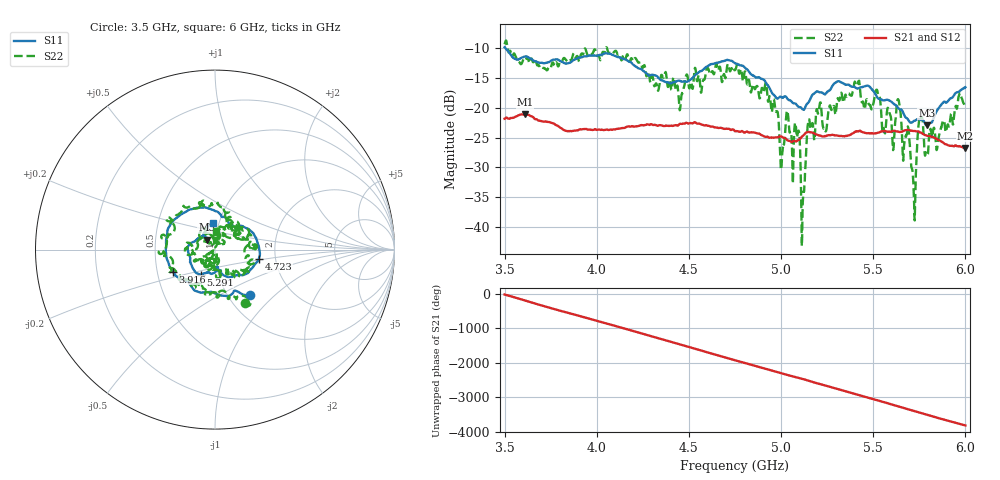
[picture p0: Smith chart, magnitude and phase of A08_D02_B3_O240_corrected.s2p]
! Created with skrf 1.9.0 (http://scikit-rf.org).
# Hz S RI R 50.0
!freq ReS11 ImS11 ReS21 ImS21 ReS12 ImS12 ReS22 ImS22
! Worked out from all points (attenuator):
!   1601 points, 3.5 GHz to 6 GHz, reference 50 ohm
!   highest |S21| = -21.09 dB at 3.611 GHz (marker M1); lowest = -26.7 dB at 5.998 GHz (marker M2)
!   lowest |S11| = -22.9 dB at 5.791 GHz (marker M3), VSWR 1.15, Z = 45.4 + j4.99 ohm
!   |S11| at or under -10 dB: 3.504 GHz to end of sweep
!   |S22| runs from -43.2 to -8.7 dB; largest |S21 - S12| = 0.00099
!   S11 on the Smith chart (normalised r, x): 3.5 GHz: 1.26, -0.72; 3.916 GHz: 0.60, -0.16; 4.723 GHz: 1.63, -0.18; 5.291 GHz: 0.82, -0.23; 6 GHz: 0.94, +0.28
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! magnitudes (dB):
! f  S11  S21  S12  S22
! 3.5 GHz  -9.9  -21.8  -21.8  -9.4
! 3.611 GHz  -11.4  -21.1  -21.1  -12.0
! 3.916 GHz  -11.6  -23.6  -23.6  -11.0
! 3.917 GHz  -11.6  -23.6  -23.6  -10.9
! 4.334 GHz  -15.0  -23.0  -22.9  -17.1
! 4.723 GHz  -12.1  -23.7  -23.6  -13.9
! 4.75 GHz  -12.5  -23.9  -23.9  -13.7
! 4.969 GHz  -18.1  -25.0  -24.9  -20.3
! 5.005 GHz  -18.2  -24.9  -24.9  -28.4
! 5.086 GHz  -19.6  -25.6  -25.5  -25.0
! 5.119 GHz  -20.3  -24.7  -24.6  -35.3
! 5.145 GHz  -19.2  -24.1  -24.0  -22.7
! 5.167 GHz  -18.0  -24.2  -24.1  -22.7
! 5.291 GHz  -15.9  -24.6  -24.6  -20.4
! 5.411 GHz  -16.7  -24.0  -23.9  -16.1
! 5.584 GHz  -18.8  -24.0  -24.0  -20.3
! 5.639 GHz  -20.2  -24.0  -24.0  -18.9
! 5.719 GHz  -22.3  -23.9  -23.8  -33.5
! 5.755 GHz  -22.0  -24.1  -24.1  -21.6
! 5.791 GHz  -22.9  -24.7  -24.6  -27.7
! 5.998 GHz  -16.6  -26.7  -26.6  -19.7
! 6 GHz  -16.6  -26.7  -26.7  -19.8
